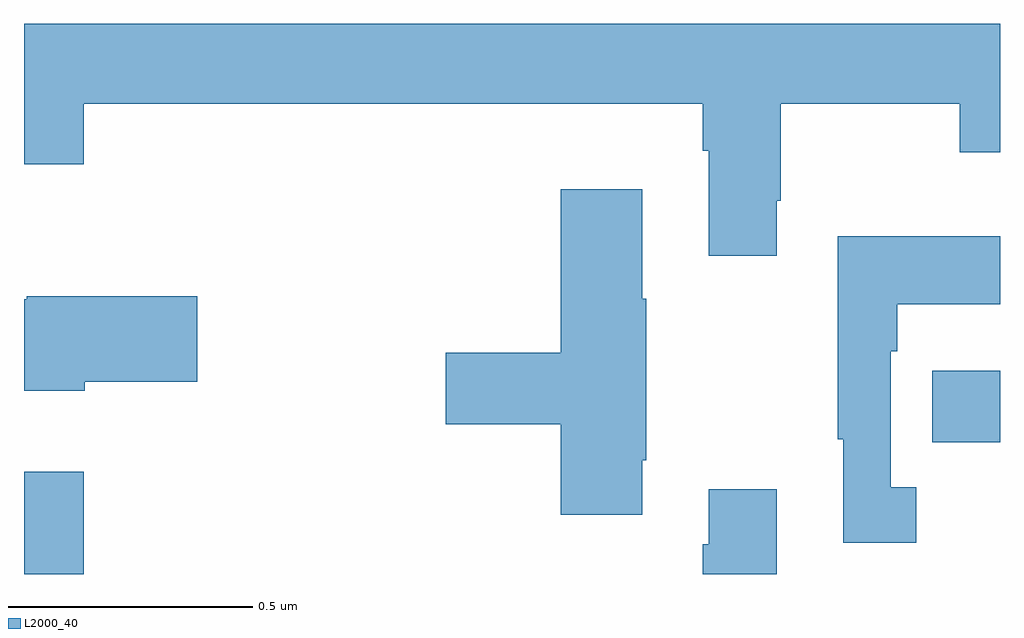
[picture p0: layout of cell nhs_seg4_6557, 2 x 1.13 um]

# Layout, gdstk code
import gdstk
lib = gdstk.Library(unit=1e-6, precision=1e-09)
def R(c, l, rs):  # rectangles x0, y0, x1, y1
    for r in rs: c.add(gdstk.rectangle(r[:2], r[2:], *l))
def P(c, l, *ps):  # polygons
    for p in ps: c.add(gdstk.Polygon(p, *l))
L2000_40 = (2000, 40)

nhs_seg4_6557 = lib.new_cell('nhs_seg4_6557')
R(nhs_seg4_6557, L2000_40, [(192,751.9,192.122,752.11), (193.861,752.17,194,752.317)])
P(nhs_seg4_6557, L2000_40, [(193.543,752.665),(193.551,752.665),(193.551,752.864),(193.918,752.864),(193.918,752.765),(194,752.765),(194,753.028),(192,753.028),(192,752.74),(192.122,752.74),(192.122,752.864),(193.391,752.864),(193.391,752.768),(193.403,752.768),(193.403,752.553),(193.543,752.553)],
  [(193.267,752.134),(193.275,752.134),(193.275,752.465),(193.267,752.465),(193.267,752.689),(193.1,752.689),(193.1,752.354),(192.864,752.354),(192.864,752.207),(193.1,752.207),(193.1,752.022),(193.267,752.022)],
  [(193.828,752.078),(193.776,752.078),(193.776,752.357),(193.789,752.357),(193.789,752.453),(194,752.453),(194,752.593),(193.668,752.593),(193.668,752.177),(193.679,752.177),(193.679,751.965),(193.828,751.965)],
  [(192.124,752.294),(192.355,752.294),(192.355,752.47),(192.006,752.47),(192.006,752.464),(192,752.464),(192,752.276),(192.124,752.276)],
  [(193.543,752.074),(193.403,752.074),(193.403,751.961),(193.391,751.961),(193.391,751.9),(193.543,751.9)])

lib.write_gds('nhs_seg4_6557.gds')
